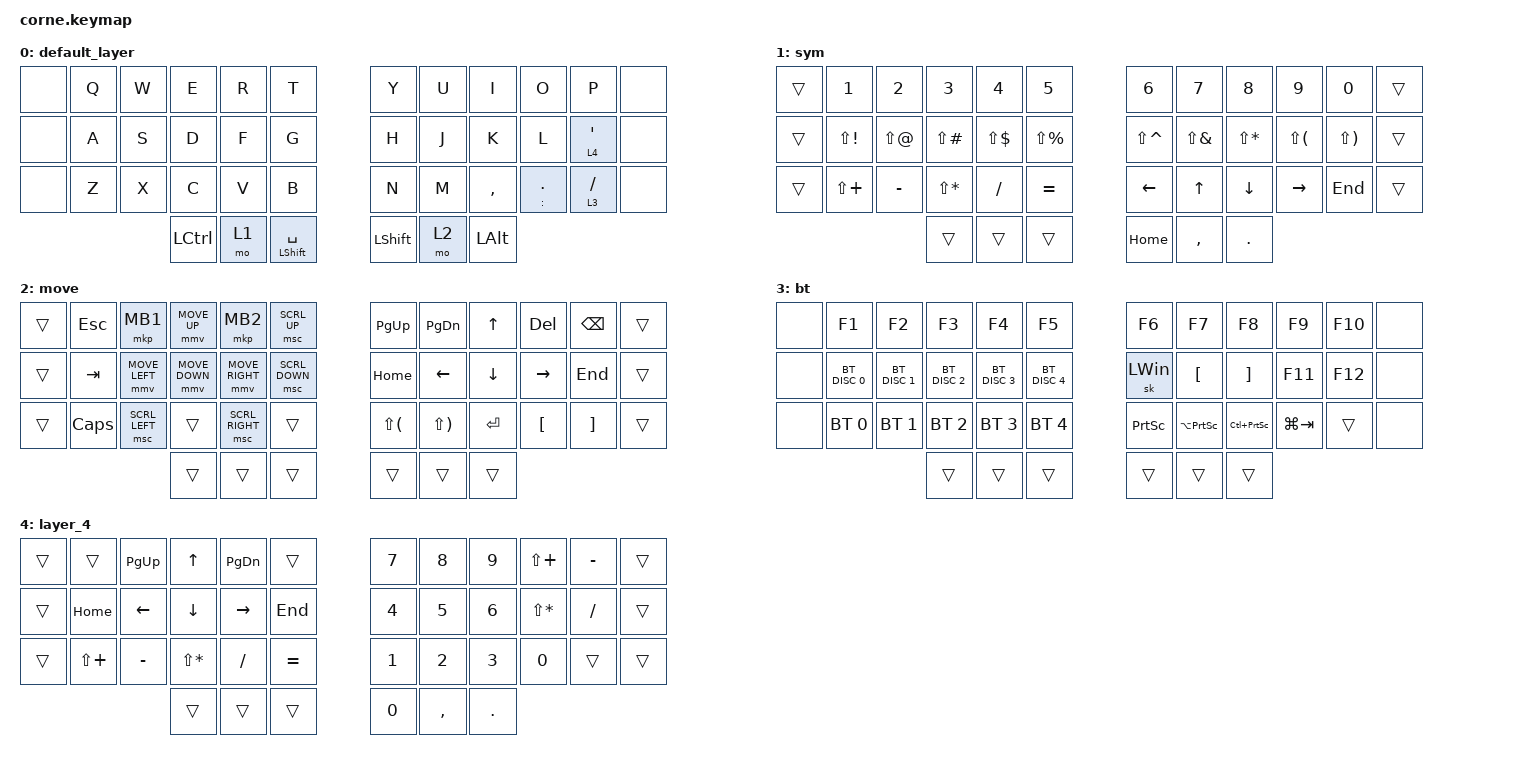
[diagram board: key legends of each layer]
/*
 * Copyright (c) 2020 The ZMK Contributors
 *
 * SPDX-License-Identifier: MIT
 */

#include <behaviors.dtsi>
#include <dt-bindings/zmk/bt.h>
#include <dt-bindings/zmk/keys.h>
#include <dt-bindings/zmk/pointing.h>

/ {
    combos {
        compatible = "zmk,combos";

        q {
            bindings = <&kp ESC>;
            key-positions = <1 2>;
        };

        back {
            bindings = <&kp BACKSPACE>;
            key-positions = <10 9>;
        };

        enter {
            bindings = <&kp ENTER>;
            key-positions = <22 21>;
        };

        tab {
            bindings = <&kp TAB>;
            key-positions = <25 26 26>;
            timeout-ms = <30>;
        };

        semi {
            bindings = <&kp SEMICOLON>;
            key-positions = <32 33>;
        };

        win {
            bindings = <&kp LEFT_WIN>;
            key-positions = <36 41>;
        };

        toggle {
            bindings = <&tog 1>;
            key-positions = <37 40>;
        };

        minus {
            bindings = <&kp MINUS>;
            key-positions = <15 16>;
            layers = <0>;
        };

        underscore {
            bindings = <&kp UNDERSCORE>;
            key-positions = <19 20>;
            layers = <0>;
        };
    };

    keymap {
        compatible = "zmk,keymap";

        default_layer {
            // -----------------------------------------------------------------------------------------
            // |  TAB |  Q  |  W  |  E  |  R  |  T  |   |  Y  |  U   |  I  |  O  |  P  | BKSP |
            // | CTRL |  A  |  S  |  D  |  F  |  G  |   |  H  |  J   |  K  |  L  |  ;  |  '   |
            // | SHFT |  Z  |  X  |  C  |  V  |  B  |   |  N  |  M   |  ,  |  .  |  /  | ESC  |
            //                    | GUI | LWR | SPC |   | ENT | RSE  | ALT |

            bindings = <
&none  &kp Q  &kp W  &kp E      &kp R  &kp T                   &kp Y           &kp U  &kp I         &kp O          &kp P        &none
&none  &kp A  &kp S  &kp D      &kp F  &kp G                   &kp H           &kp J  &kp K         &kp L          &lt 4 SQT    &none
&none  &kp Z  &kp X  &kp C      &kp V  &kp B                   &kp N           &kp M  &kp COMMA     &mt COLON DOT  &lt 3 SLASH  &none
                     &kp LCTRL  &mo 1  &mt LEFT_SHIFT SPACE    &kp LEFT_SHIFT  &mo 2  &kp LEFT_ALT
            >;
        };

        sym {
            // -----------------------------------------------------------------------------------------
            // |  TAB |  !  |  @  |  #  |  $  |  %  |   |  ^  |  &  |  *  |  (  |  )  | BKSP |
            // | CTRL |     |     |     |     |     |   |  -  |  =  |  [  |  ]  |  \  |  `   |
            // | SHFT |     |     |     |     |     |   |  _  |  +  |  {  |  }  | "|" |  ~   |
            //                    | GUI |     | SPC |   | ENT |     | ALT |

            bindings = <
&trans  &kp N1        &kp N2      &kp N3         &kp N4        &kp N5           &kp N6         &kp N7        &kp N8        &kp N9        &kp N0        &trans
&trans  &kp LS(EXCL)  &kp LS(AT)  &kp LS(POUND)  &kp LS(DLLR)  &kp LS(PRCNT)    &kp LS(CARET)  &kp LS(AMPS)  &kp LS(STAR)  &kp LS(LPAR)  &kp LS(RPAR)  &trans
&trans  &kp LS(PLUS)  &kp MINUS   &kp LS(STAR)   &kp FSLH      &kp EQUAL        &kp LEFT       &kp UP        &kp DOWN      &kp RIGHT     &kp END       &trans
                                  &trans         &trans        &trans           &kp HOME       &kp COMMA     &kp DOT
            >;
        };

        move {
            bindings = <
&trans  &kp ESC   &mkp MB1        &mmv MOVE_UP    &mkp MB2         &msc SCRL_UP      &kp PAGE_UP   &kp PAGE_DOWN  &kp UP_ARROW  &kp DEL    &kp BACKSPACE  &trans
&trans  &kp TAB   &mmv MOVE_LEFT  &mmv MOVE_DOWN  &mmv MOVE_RIGHT  &msc SCRL_DOWN    &kp HOME      &kp LEFT       &kp DOWN      &kp RIGHT  &kp END        &trans
&trans  &kp CAPS  &msc SCRL_LEFT  &trans          &msc SCRL_RIGHT  &trans            &kp LS(LPAR)  &kp LS(RPAR)   &kp ENTER     &kp LBKT   &kp RBKT       &trans
                                  &trans          &trans           &trans            &trans        &trans         &trans
            >;
        };

        bt {
            // -----------------------------------------------------------------------------------------
            // |  TAB |  1  |  2  |  3  |  4  |  5  |   |  6  |  7  |  8  |  9  |  0  | BKSP |
            // | BTCLR| BT1 | BT2 | BT3 | BT4 | BT5 |   | LFT | DWN |  UP | RGT |     |      |
            // | SHFT |     |     |     |     |     |   |     |     |     |     |     |      |
            //                    | GUI |     | SPC |   | ENT |     | ALT |

            bindings = <
&none  &kp F1         &kp F2         &kp F3         &kp F4         &kp F5           &kp F6           &kp F7               &kp F8               &kp F9       &kp F10  &none
&none  &bt BT_DISC 0  &bt BT_DISC 1  &bt BT_DISC 2  &bt BT_DISC 3  &bt BT_DISC 4    &sk LEFT_WIN     &kp LBKT             &kp RBKT             &kp F11      &kp F12  &none
&none  &bt BT_SEL 0   &bt BT_SEL 1   &bt BT_SEL 2   &bt BT_SEL 3   &bt BT_SEL 4     &kp PRINTSCREEN  &kp LA(PRINTSCREEN)  &kp LC(PRINTSCREEN)  &kp LG(TAB)  &trans   &none
                                     &trans         &trans         &trans           &trans           &trans               &trans
            >;
        };

        layer_4 {
            bindings = <
&trans  &trans        &kp PG_UP  &kp UP        &kp PG_DN  &trans       &kp N7  &kp N8     &kp N9   &kp LS(PLUS)  &kp MINUS  &trans
&trans  &kp HOME      &kp LEFT   &kp DOWN      &kp RIGHT  &kp END      &kp N4  &kp N5     &kp N6   &kp LS(STAR)  &kp FSLH   &trans
&trans  &kp LS(PLUS)  &kp MINUS  &kp LS(STAR)  &kp FSLH   &kp EQUAL    &kp N1  &kp N2     &kp N3   &kp N0        &trans     &trans
                                 &trans        &trans     &trans       &kp N0  &kp COMMA  &kp DOT
            >;
        };
    };
};
